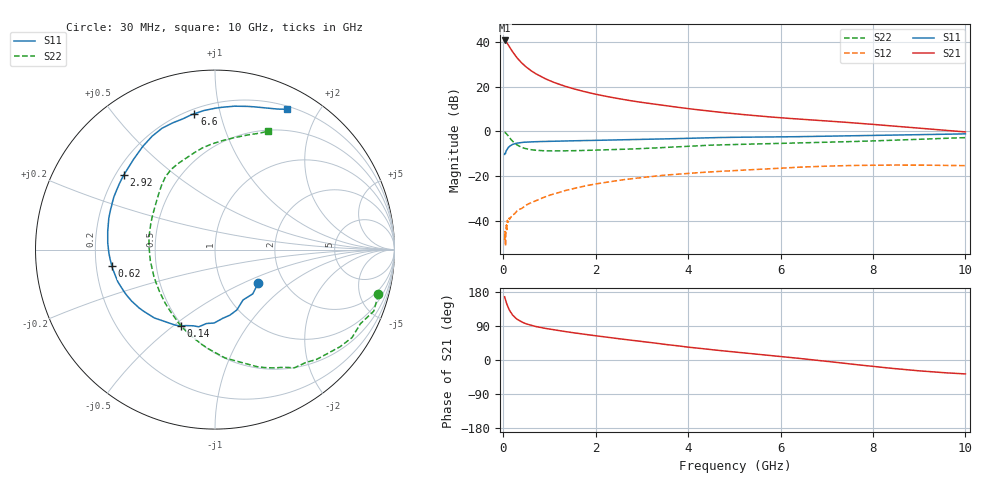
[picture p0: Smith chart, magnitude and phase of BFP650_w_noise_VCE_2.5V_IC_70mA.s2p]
! Infineon Technologies  Discrete & RF Semiconductors
! BFP650
! VCE =  2.5 V,  IC =  70 mA
! Common Emitter S-Parameters:  Jan 2016
# GHz  S  MA  R  50
!  f  S11  S21  S12  S22
! GHz  MAG  ANG  MAG  ANG  MAG  ANG  MAG  ANG
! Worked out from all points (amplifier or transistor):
!   229 points, 30 MHz to 10 GHz, reference 50 ohm
!   highest |S21| = 40.7 dB at 30 MHz (marker M1)
!   |S21| within 3 dB of that: start of sweep to 139.4 MHz
!   unconditionally stable (mu >= 1): 1.6 GHz to end of sweep
!   at 280 MHz: K = 0.55, MSG = 34.7 dB, |S12| = -36.1 dB
!   at 1.78 GHz: K = 1.01, MAG = 20.4 dB, |S12| = -24.4 dB
!   at 10 GHz: K = 1.03, MAG = 6.5 dB, |S12| = -15.3 dB
!   lowest NFmin = 1.15 dB at 450 MHz
!   S11 on the Smith chart (normalised r, x): 30 MHz: 1.48, -0.62; 140 MHz: 0.49, -0.53; 620 MHz: 0.27, -0.07; 2.92 GHz: 0.23, +0.34; 6.6 GHz: 0.23, +0.83; 10 GHz: 0.23, +1.61
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0.03  0.3051 -38.2  107.8 166.9  0.0037 88.0  0.9438 -15.2
0.04  0.3242 -49.5  106.7 162.4  0.0058 78.8  0.9487 -21.2
0.05  0.3212 -60.9  103.5 157.9  0.0027 70.8  0.9093 -27.0
0.06  0.3577 -70.1  102 154.3  0.007 63.2  0.9073 -32.7
0.08  0.3856 -83.7  95.57 146.9  0.0063 68.5  0.8592 -41.7
0.11  0.4395 -101.9  85.67 137.6  0.0096 76.0  0.7934 -56.1
0.14  0.4663 -114.2  76.18 130.2  0.0109 60.3  0.7161 -66.7
0.2  0.5092 -131.6  60.83 119.0  0.0135 58.3  0.6064 -84.7
0.24  0.5257 -139.3  53.13 113.8  0.0141 55.8  0.5538 -93.8
0.3  0.546 -148.3  43.98 107.5  0.0166 54.8  0.4965 -106.1
0.36  0.5573 -154.6  37.37 103.0  0.0182 54.8  0.4596 -115.6
0.45  0.5705 -161.8  30.27 97.6  0.0206 56.7  0.4207 -127.4
0.62  0.5821 -170.8  22.16 91.0  0.0258 57.6  0.3862 -143.6
1  0.5987 176.5  13.65 81.5  0.0372 59.4  0.3657 -166.0
1.7  0.6197 161.3  7.997 68.9  0.0576 54.7  0.3723 171.1
2.92  0.6556 140.9  4.568 49.9  0.0905 42.6  0.4083 145.6
3.4  0.6725 133.6  3.884 42.9  0.1023 37.0  0.4307 138.1
5.1  0.7386 112.6  2.421 20.0  0.1341 20.0  0.512 117.3
6.6  0.7657 98.6  1.823 1.8  0.1609 5.3  0.5572 100.6
6.8  0.771 96.6  1.765 -0.8  0.1639 3.0  0.5636 98.8
8.4  0.8182 77.2  1.322 -21.9  0.1759 -14.8  0.6309 80.6
10  0.8785 62.9  0.97 -36.7  0.171 -27.5  0.7235 65.9
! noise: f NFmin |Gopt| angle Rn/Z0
0.45  1.15  0.48  -171  0.06
0.9  1.17  0.49  -165  0.06
1.9  1.31  0.52  -151  0.08
2.4  1.4  0.5  -142  0.1
3.5  1.6  0.52  -118  0.17
